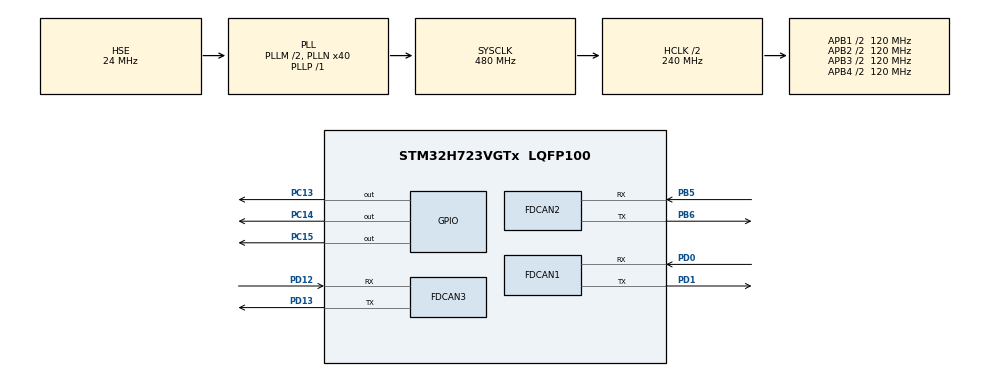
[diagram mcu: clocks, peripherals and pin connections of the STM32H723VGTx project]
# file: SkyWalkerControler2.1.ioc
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CORTEX_M7.default_mode_Activation=0
FDCAN1.CalculateBaudRateNominal=1000000
FDCAN1.CalculateTimeBitNominal=1000
FDCAN1.CalculateTimeQuantumNominal=25.0
FDCAN1.DataPrescaler=3
FDCAN1.DataSyncJumpWidth=10
FDCAN1.DataTimeSeg1=29
FDCAN1.DataTimeSeg2=10
FDCAN1.NominalPrescaler=3
FDCAN1.NominalSyncJumpWidth=10
FDCAN1.NominalTimeSeg1=29
FDCAN1.NominalTimeSeg2=10
FDCAN1.ProtocolException=ENABLE
FDCAN1.RxFifo0ElmtsNbr=4
FDCAN1.StdFiltersNbr=1
FDCAN1.TxFifoQueueElmtsNbr=4
FDCAN2.CalculateBaudRateNominal=1000000
FDCAN2.CalculateTimeBitNominal=1000
FDCAN2.CalculateTimeQuantumNominal=25.0
FDCAN2.DataPrescaler=3
FDCAN2.DataSyncJumpWidth=10
FDCAN2.DataTimeSeg1=29
FDCAN2.DataTimeSeg2=10
FDCAN2.MessageRAMOffset=853
FDCAN2.NominalPrescaler=3
FDCAN2.NominalSyncJumpWidth=10
FDCAN2.NominalTimeSeg1=29
FDCAN2.NominalTimeSeg2=10
FDCAN2.ProtocolException=ENABLE
FDCAN2.RxFifo0ElmtsNbr=4
FDCAN2.StdFiltersNbr=1
FDCAN2.TxFifoQueueElmtsNbr=4
FDCAN3.CalculateBaudRateNominal=1000000
FDCAN3.CalculateTimeBitNominal=1000
FDCAN3.CalculateTimeQuantumNominal=25.0
FDCAN3.DataPrescaler=3
FDCAN3.DataSyncJumpWidth=10
FDCAN3.DataTimeSeg1=29
FDCAN3.DataTimeSeg2=10
FDCAN3.MessageRAMOffset=1706
FDCAN3.NominalPrescaler=3
FDCAN3.NominalSyncJumpWidth=10
FDCAN3.NominalTimeSeg1=29
FDCAN3.NominalTimeSeg2=10
FDCAN3.ProtocolException=ENABLE
FDCAN3.RxFifo0ElmtsNbr=4
FDCAN3.StdFiltersNbr=1
FDCAN3.TxFifoQueueElmtsNbr=4
Mcu.Family=STM32H7
Mcu.Name=STM32H723VGTx
Mcu.Package=LQFP100
NVIC.FDCAN1_IT0_IRQn=true\:0\:0\:false\:false\:true\:true\:true\:true
NVIC.FDCAN2_IT0_IRQn=true\:0\:0\:false\:false\:true\:true\:true\:true
NVIC.FDCAN3_IT0_IRQn=true\:0\:0\:false\:false\:true\:true\:true\:true
NVIC.PriorityGroup=NVIC_PRIORITYGROUP_4
PB5.Mode=FDCAN_Activate
PB5.Signal=FDCAN2_RX
PB6.Mode=FDCAN_Activate
PB6.Signal=FDCAN2_TX
PC13.Signal=GPIO_Output
PC14-OSC32_IN.Signal=GPIO_Output
PC15-OSC32_OUT.Signal=GPIO_Output
PD0.Mode=FDCAN_Activate
PD0.Signal=FDCAN1_RX
PD1.Mode=FDCAN_Activate
PD1.Signal=FDCAN1_TX
PD12.Mode=FDCAN_Activate
PD12.Signal=FDCAN3_RX
PD13.Mode=FDCAN_Activate
PD13.Signal=FDCAN3_TX
PH0-OSC_IN.Mode=HSE-External-Oscillator
PH0-OSC_IN.Signal=RCC_OSC_IN
PH1-OSC_OUT.Mode=HSE-External-Oscillator
PH1-OSC_OUT.Signal=RCC_OSC_OUT
ProjectManager.HeapSize=0x200
ProjectManager.StackSize=0x400
ProjectManager.TargetToolchain=CMake
RCC.ADCFreq_Value=48375000
RCC.APB1Freq_Value=120000000
RCC.APB2Freq_Value=120000000
RCC.APB3Freq_Value=120000000
RCC.APB4Freq_Value=120000000
RCC.CortexFreq_Value=480000000
RCC.D1PPRE=RCC_APB3_DIV2
RCC.D2PPRE1=RCC_APB1_DIV2
RCC.D2PPRE2=RCC_APB2_DIV2
RCC.D3PPRE=RCC_APB4_DIV2
RCC.DIVM1=2
RCC.DIVN1=40
RCC.DIVP1=1
RCC.DIVQ1=4
RCC.HCLKFreq_Value=240000000
RCC.HPRE=RCC_HCLK_DIV2
RCC.HSE_VALUE=24000000
RCC.PLLFRACN=0
RCC.PLLSourceVirtual=RCC_PLLSOURCE_HSE
RCC.SYSCLKFreq_VALUE=480000000
RCC.SYSCLKSource=RCC_SYSCLKSOURCE_PLLCLK
RCC.USBFreq_Value=120000000
VP_MEMORYMAP_VS_MEMORYMAP.Mode=CurAppReg
board=custom

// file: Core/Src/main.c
/* USER CODE BEGIN Header */
/**
  ******************************************************************************
  * @file           : main.c
  * @brief          : Main program body
  ******************************************************************************
  * @attention
  *
  * Copyright (c) 2026 STMicroelectronics.
  * All rights reserved.
  *
  * This software is licensed under terms that can be found in the LICENSE file
  * in the root directory of this software component.
  * If no LICENSE file comes with this software, it is provided AS-IS.
  *
  ******************************************************************************
  */
/* USER CODE END Header */
#include "main.h"
#include "fdcan.h"
#include "gpio.h"

/* USER CODE BEGIN Includes */
#include "bsp_log.h"
#include "bsp_can.h"
/* USER CODE END Includes */

void SystemClock_Config(void);
/* USER CODE BEGIN PFP */
void send_test(FDCAN_TxFrame_TypeDef *TxFrame, const uint16_t data, const uint32_t ID) {
  TxFrame->Header.Identifier = ID;
  TxFrame->Data[0] = 0xA1;
  TxFrame->Data[1] = 0x00;
  TxFrame->Data[2] = 0x00;
  TxFrame->Data[3] = 0x00;
  TxFrame->Data[4] = data;
  TxFrame->Data[5] = data >> 8;
  TxFrame->Data[6] = 0x00;
  TxFrame->Data[7] = 0x00;

  HAL_FDCAN_AddMessageToTxFifoQ(TxFrame->hcan, &TxFrame->Header, TxFrame->Data);
}
void send_test2(FDCAN_TxFrame_TypeDef *TxFrame, const uint16_t pos, const uint16_t vel, const uint16_t kp, const uint16_t kd, uint32_t ID) {
  uint32_t id = 0;
  id |= ((1 & 0x1F) << 24); // 通信类型
  id |= (32768 << 8);     // ⚠️ 力矩在这里（关键！）
  id |= (ID);           // 电机ID

  TxFrame->Header.Identifier = id;

  TxFrame->Data[0] = pos >> 8;
  TxFrame->Data[1] = pos & 0xFF;
  TxFrame->Data[2] = vel >> 8;;
  TxFrame->Data[3] = vel & 0xFF;
  TxFrame->Data[4] = kp >> 8;
  TxFrame->Data[5] = kp & 0xFF;
  TxFrame->Data[6] = kd >> 8;
  TxFrame->Data[7] = kd & 0xFF;

  HAL_FDCAN_AddMessageToTxFifoQ(TxFrame->hcan, &TxFrame->Header, TxFrame->Data);
}
void motor_enable(FDCAN_TxFrame_TypeDef *TxFrame, uint8_t master_id, uint8_t motor_id)
{
  uint32_t id = 0;
  id |= ((3 & 0x1F) << 24);        // 通信类型 = 3（使能）
  id |= ((master_id & 0xFFFF) << 8); // 主机ID（bit23~8）
  id |= (motor_id & 0xFF);         // 电机ID（bit7~0）

  TxFrame->Header.Identifier = id;

  for (int i = 0; i < 8; i++)
    TxFrame->Data[i] = 0;
  HAL_FDCAN_AddMessageToTxFifoQ(TxFrame->hcan, &TxFrame->Header, TxFrame->Data);
}
/* USER CODE END PFP */

int main(void)
{

  /* MCU Configuration--------------------------------------------------------*/

  /* Reset of all peripherals, Initializes the Flash interface and the Systick. */
  HAL_Init();

  /* Configure the system clock */
  SystemClock_Config();

  /* Initialize all configured peripherals */
  MX_GPIO_Init();
  MX_FDCAN1_Init();
  MX_FDCAN2_Init();
  MX_FDCAN3_Init();
  /* USER CODE BEGIN 2 */
  BSPLogInit();
  BSP_FDCAN_Init();

  HAL_GPIO_WritePin(GPIOC,GPIO_PIN_13,GPIO_PIN_SET);
  HAL_GPIO_WritePin(GPIOC,GPIO_PIN_14,GPIO_PIN_SET);
  HAL_GPIO_WritePin(GPIOC,GPIO_PIN_15,GPIO_PIN_SET);

  HAL_Delay(3000);
  send_test(&hfdcan1TxFrame, 500, 0x144);
  motor_enable(&hfdcan2TxFrame, 0x00, 0x03);
  /* USER CODE END 2 */

  /* Infinite loop */
  /* USER CODE BEGIN WHILE */
  int count = 0;
  while (1)
  {
    count ++;
    PrintLog("Log test:%d\n", count);
    HAL_Delay(10);
    send_test2(&hfdcan2TxFrame,32768,32768,10,200,0x03);
    //send_test(&hfdcan1TxFrame, 500, 0x144);
    /* USER CODE END WHILE */

  }
}

void SystemClock_Config(void)
{
  RCC_OscInitTypeDef RCC_OscInitStruct = {0};
  RCC_ClkInitTypeDef RCC_ClkInitStruct = {0};

  /** Supply configuration update enable
  */
  HAL_PWREx_ConfigSupply(PWR_LDO_SUPPLY);

  /** Configure the main internal regulator output voltage
  */
  __HAL_PWR_VOLTAGESCALING_CONFIG(PWR_REGULATOR_VOLTAGE_SCALE0);

  while(!__HAL_PWR_GET_FLAG(PWR_FLAG_VOSRDY)) {}

  /** Initializes the RCC Oscillators according to the specified parameters
  * in the RCC_OscInitTypeDef structure.
  */
  RCC_OscInitStruct.OscillatorType = RCC_OSCILLATORTYPE_HSE;
  RCC_OscInitStruct.HSEState = RCC_HSE_ON;
  RCC_OscInitStruct.PLL.PLLState = RCC_PLL_ON;
  RCC_OscInitStruct.PLL.PLLSource = RCC_PLLSOURCE_HSE;
  RCC_OscInitStruct.PLL.PLLM = 2;
  RCC_OscInitStruct.PLL.PLLN = 40;
  RCC_OscInitStruct.PLL.PLLP = 1;
  RCC_OscInitStruct.PLL.PLLQ = 4;
  RCC_OscInitStruct.PLL.PLLR = 2;
  RCC_OscInitStruct.PLL.PLLRGE = RCC_PLL1VCIRANGE_3;
  RCC_OscInitStruct.PLL.PLLVCOSEL = RCC_PLL1VCOWIDE;
  RCC_OscInitStruct.PLL.PLLFRACN = 0;
  if (HAL_RCC_OscConfig(&RCC_OscInitStruct) != HAL_OK)
  {
    Error_Handler();
  }

  /** Initializes the CPU, AHB and APB buses clocks
  */
  RCC_ClkInitStruct.ClockType = RCC_CLOCKTYPE_HCLK|RCC_CLOCKTYPE_SYSCLK
                              |RCC_CLOCKTYPE_PCLK1|RCC_CLOCKTYPE_PCLK2
                              |RCC_CLOCKTYPE_D3PCLK1|RCC_CLOCKTYPE_D1PCLK1;
  RCC_ClkInitStruct.SYSCLKSource = RCC_SYSCLKSOURCE_PLLCLK;
  RCC_ClkInitStruct.SYSCLKDivider = RCC_SYSCLK_DIV1;
  RCC_ClkInitStruct.AHBCLKDivider = RCC_HCLK_DIV2;
  RCC_ClkInitStruct.APB3CLKDivider = RCC_APB3_DIV2;
  RCC_ClkInitStruct.APB1CLKDivider = RCC_APB1_DIV2;
  RCC_ClkInitStruct.APB2CLKDivider = RCC_APB2_DIV2;
  RCC_ClkInitStruct.APB4CLKDivider = RCC_APB4_DIV2;

  if (HAL_RCC_ClockConfig(&RCC_ClkInitStruct, FLASH_LATENCY_3) != HAL_OK)
  {
    Error_Handler();
  }
}

void Error_Handler(void)
{
  __disable_irq();
  while (1)
  {
  }
}
